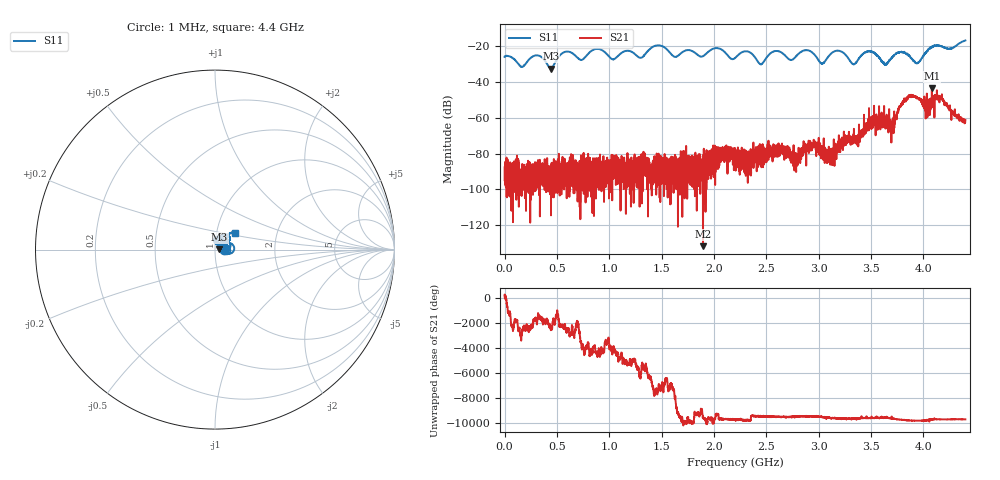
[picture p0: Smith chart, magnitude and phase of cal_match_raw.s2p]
!Created with skrf (http://scikit-rf.org).
# Hz S RI R 50.0
!freq ReS11 ImS11 ReS21 ImS21 ReS12 ImS12 ReS22 ImS22
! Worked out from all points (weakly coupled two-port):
!   4400 points, 1 MHz to 4.4 GHz, reference 50 ohm
!   highest |S21| = -43.49 dB at 4.08 GHz (marker M1); lowest = -131.9 dB at 1.895 GHz (marker M2)
!   lowest |S11| = -32.4 dB at 444 MHz (marker M3), VSWR 1.05, Z = 52.4 + j0.134 ohm
!   |S11| at or under -10 dB: start of sweep to end of sweep
!   S12 and S22 are empty: the file has one direction only
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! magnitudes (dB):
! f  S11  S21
! 1 MHz  -25.8  -87.8
! 166 MHz  -31.4  -91.6
! 322 MHz  -25.1  -93.5
! 444 MHz  -32.4  -114.6
! 581 MHz  -23.0  -90.4
! 735 MHz  -27.6  -85.6
! 883 MHz  -21.4  -87.0
! 1.303 GHz  -26.4  -92.8
! 1.468 GHz  -19.4  -94.2
! 1.895 GHz  -25.5  -131.9
! 2.201 GHz  -26.5  -85.7
! 2.934 GHz  -23.2  -74.6
! 3.031 GHz  -29.6  -76.1
! 3.121 GHz  -23.8  -79.8
! 3.334 GHz  -30.0  -70.5
! 3.51 GHz  -23.0  -59.9
! 3.667 GHz  -28.5  -62.8
! 3.871 GHz  -25.7  -47.5
! 3.945 GHz  -29.2  -49.2
! 4.08 GHz  -20.2  -43.5
! 4.16 GHz  -19.8  -48.3
! 4.4 GHz  -16.7  -61.4
